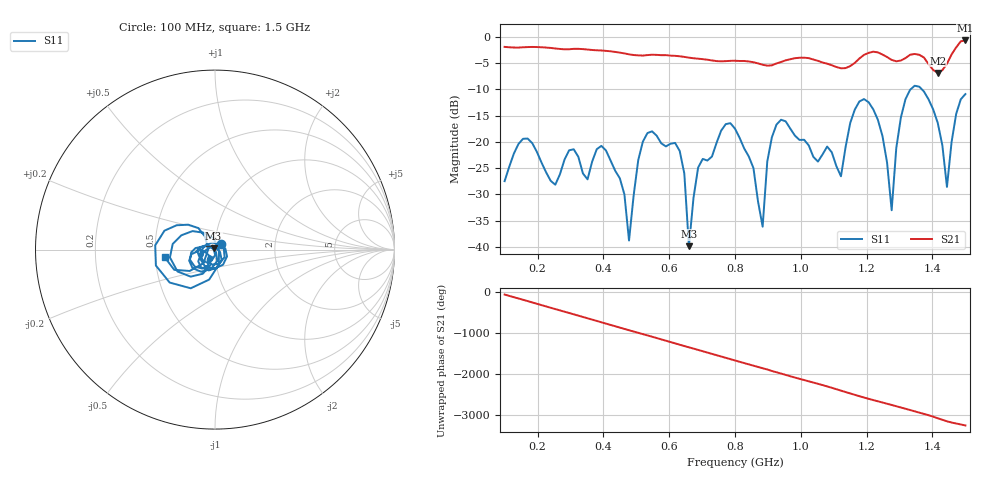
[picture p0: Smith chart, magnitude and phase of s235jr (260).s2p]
! NanoVNA-App
! Date: 2025-09-25 15:06:11
! Start: 100MHz Stop: 1,5GHz Points: 101
! S-Parameter data: F S11 S21 S12 S22
# Hz S RI R 50
!  Frequency  S11_Real  S11_Imag  S21_Real  S21_Imag  S12_Real  S12_Imag  S22_Real  S22_Imag
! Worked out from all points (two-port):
!   101 points, 100 MHz to 1.5 GHz, reference 50 ohm
!   highest |S21| = -0.74 dB at 1.5 GHz (marker M1); lowest = -6.9 dB at 1.416 GHz (marker M2)
!   |S21| within 3 dB of the highest: start of sweep to 631.6 MHz; 1.187 GHz to 1.258 GHz (71.01 MHz wide, 5.81 % of centre) (the widest 2 of 4)
!   lowest |S11| = -39.8 dB at 660 MHz (marker M3), VSWR 1.02, Z = 49.2 + j0.628 ohm
!   |S11| at or under -10 dB: start of sweep to 1.334 GHz; 1.367 GHz to end of sweep
!   S12 and S22 are empty: the file has one direction only
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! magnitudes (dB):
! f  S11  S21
! 100 MHz  -27.5  -2.0
! 156 MHz  -19.4  -2.0
! 338 MHz  -26.0  -2.4
! 408 MHz  -21.6  -2.7
! 478 MHz  -38.7  -3.4
! 520 MHz  -20.0  -3.6
! 576 MHz  -20.3  -3.5
! 632 MHz  -21.7  -3.7
! 660 MHz  -39.8  -4.0
! 688 MHz  -24.9  -4.2
! 800 MHz  -17.5  -4.6
! 884 MHz  -36.1  -5.4
! 926 MHz  -16.7  -5.1
! 1.038 GHz  -22.8  -4.4
! 1.122 GHz  -26.5  -6.0
! 1.192 GHz  -11.9  -3.5
! 1.248 GHz  -18.9  -3.4
! 1.276 GHz  -33.0  -4.4
! 1.332 GHz  -10.1  -3.5
! 1.416 GHz  -16.4  -6.9
! 1.444 GHz  -28.6  -5.2
! 1.5 GHz  -10.9  -0.7
